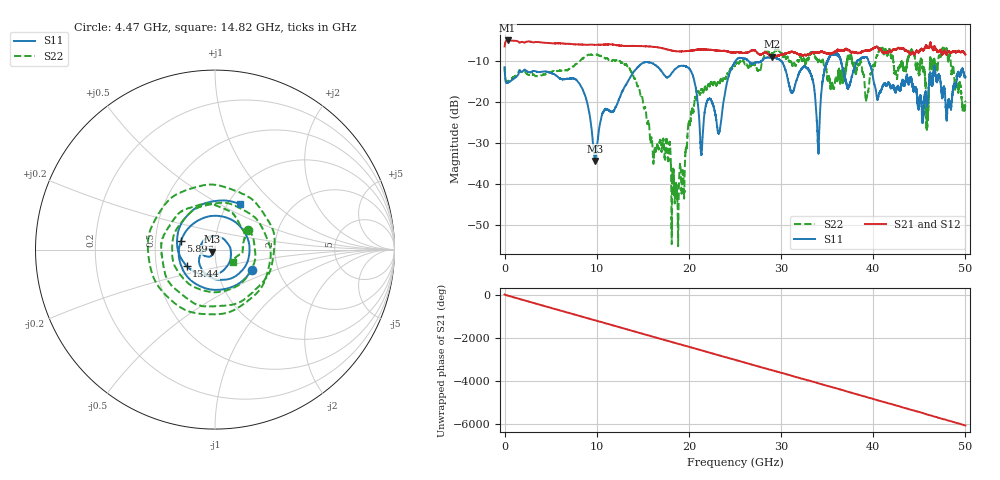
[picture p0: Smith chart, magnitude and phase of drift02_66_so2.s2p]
!Created with skrf (http://scikit-rf.org).
# Hz S RI R 50.0
!freq ReS11 ImS11 ReS21 ImS21 ReS12 ImS12 ReS22 ImS22
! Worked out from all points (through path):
!   10001 points, 300 kHz to 50 GHz, reference 50 ohm
!   highest |S21| = -5.04 dB at 325.3 MHz (marker M1); lowest = -9.0 dB at 29.01 GHz (marker M2)
!   group delay of S21, straight-line fit = 336 ps
!   lowest |S11| = -34.5 dB at 9.84 GHz (marker M3), VSWR 1.04, Z = 48.5 - j1.04 ohm
!   |S11| at or under -10 dB: start of sweep to 25.07 GHz; 29.98 GHz to 35.05 GHz (5.062 GHz wide, 15.6 % of centre); 39.48 GHz to end of sweep (the widest 3 of 9)
!   |S22| runs from -55.2 to -6.8 dB; largest |S21 - S12| = 0.022
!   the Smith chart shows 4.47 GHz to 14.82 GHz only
!   S11 on the Smith chart (normalised r, x): 4.47 GHz: 1.47, -0.35; 5.89 GHz: 0.68, +0.07; 13.44 GHz: 0.72, -0.13; 14.82 GHz: 1.13, +0.63
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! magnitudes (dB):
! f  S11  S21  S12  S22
! 300 kHz  -11.6  -6.5  -6.4  -11.6
! 325.3 MHz  -15.4  -5.0  -5.0  -15.0
! 4.47 GHz  -12.6  -5.6  -5.6  -13.3
! 5.89 GHz  -14.2  -5.7  -5.7  -12.5
! 8.335 GHz  -16.4  -6.0  -6.0  -9.6
! 9.84 GHz  -34.5  -6.1  -6.1  -8.5
! 13.44 GHz  -14.8  -6.4  -6.4  -11.6
! 14.82 GHz  -10.8  -6.4  -6.4  -18.5
! 16.67 GHz  -11.6  -6.7  -6.7  -31.3
! 18.67 GHz  -11.8  -7.7  -7.7  -41.3
! 20.37 GHz  -13.3  -7.5  -7.5  -21.9
! 21.37 GHz  -32.2  -7.2  -7.2  -16.9
! 23.31 GHz  -27.3  -7.5  -7.6  -15.6
! 25 GHz  -10.3  -8.0  -8.0  -11.2
! 29.01 GHz  -9.1  -9.0  -9.0  -8.2
! 33.34 GHz  -14.0  -8.1  -8.1  -8.1
! 34.02 GHz  -31.5  -7.9  -7.9  -10.2
! 35.52 GHz  -8.5  -8.2  -8.1  -15.6
! 41.67 GHz  -15.3  -7.7  -7.8  -7.5
! 45.86 GHz  -21.1  -6.7  -6.8  -21.0
! 47.77 GHz  -17.8  -7.6  -7.6  -7.5
! 50 GHz  -13.9  -8.5  -8.4  -20.0
